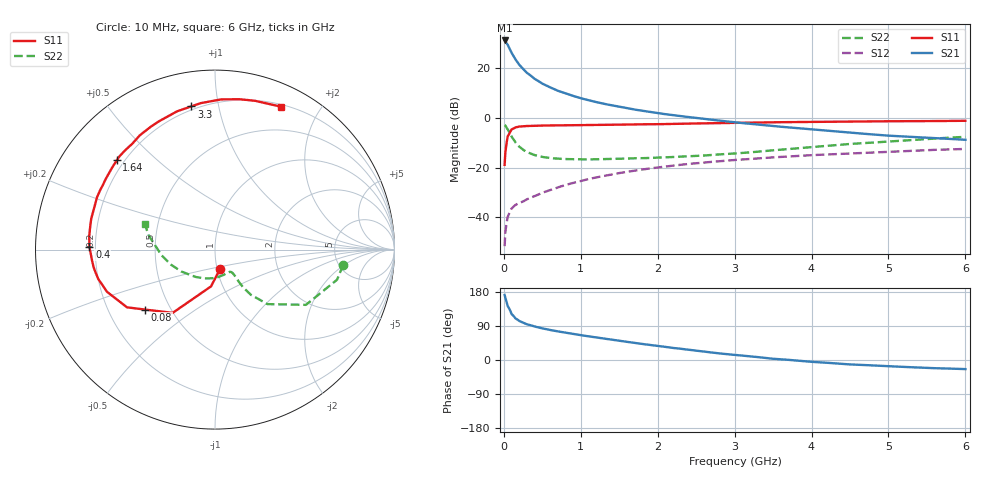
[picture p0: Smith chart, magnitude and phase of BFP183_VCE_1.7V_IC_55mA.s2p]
! Infineon Technologies  Discrete & RF Semiconductors
! BFP183
! VCE = 1.7 V,  IC =  55 mA
! Common Emitter S-Parameters:  Jan 2016
# GHz  S  MA  R  50
!  f  S11  S21  S12  S22
! GHz  MAG  ANG  MAG  ANG  MAG  ANG  MAG  ANG
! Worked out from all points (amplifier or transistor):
!   210 points, 10 MHz to 6 GHz, reference 50 ohm
!   highest |S21| = 31.3 dB at 10 MHz (marker M1)
!   |S21| within 3 dB of that: start of sweep to 70.08 MHz
!   unconditionally stable (mu >= 1): start of sweep to 36.75 MHz; 184.3 MHz to end of sweep
!   at 185 MHz: K = 1.00, MAG = 28.0 dB, |S12| = -34.5 dB
!   at 1.52 GHz: K = 1.73, MAG = 8.3 dB, |S12| = -22.1 dB
!   at 6 GHz: K = 1.35, MAG = -1.7 dB, |S12| = -12.5 dB
!   S11 on the Smith chart (normalised r, x): 10 MHz: 1.03, -0.23; 80 MHz: 0.36, -0.33; 400 MHz: 0.18, +0.01; 1.64 GHz: 0.17, +0.38; 3.3 GHz: 0.18, +0.83; 6 GHz: 0.22, +1.54
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0.01  0.1135 -76.2  36.56 171.6  0.0026 65.5  0.7195 -6.8
0.02  0.2062 -96.2  35.64 163.4  0.005 63.5  0.7002 -13.9
0.05  0.4243 -123.8  29.99 142.1  0.0101 61.0  0.5928 -31.3
0.08  0.5123 -139.3  24.01 131.6  0.0129 51.0  0.486 -38.9
0.1  0.5862 -146.7  20.69 121.4  0.0149 46.5  0.4216 -46.1
0.15  0.6462 -158.7  15.2 110.0  0.0176 45.1  0.3226 -51.5
0.175  0.6574 -162.4  13.49 106.9  0.0185 45.8  0.2934 -52.3
0.2  0.6712 -166.0  11.84 103.0  0.0194 46.5  0.2642 -53.3
0.26  0.6838 -172.1  9.342 97.3  0.0211 48.8  0.2241 -53.5
0.3  0.6881 -175.2  8.133 94.2  0.0229 50.0  0.205 -53.1
0.4  0.6997 178.8  6.16 88.2  0.0266 54.0  0.1784 -52.8
0.5  0.7047 174.0  4.927 83.4  0.0309 55.9  0.1635 -53.1
0.7  0.7108 166.1  3.547 75.5  0.0398 59.7  0.151 -55.0
1.02  0.7192 155.5  2.455 64.9  0.0545 61.0  0.1459 -62.1
1.3  0.7249 147.2  1.931 56.5  0.0677 59.9  0.1483 -69.9
1.64  0.7393 137.7  1.539 46.8  0.084 57.7  0.1526 -80.7
2.02  0.7494 127.6  1.238 36.6  0.1012 54.3  0.1595 -93.9
3.1  0.8012 103.3  0.79 11.6  0.1456 42.7  0.1971 -134.0
3.3  0.8087 99.4  0.737 7.7  0.1529 40.5  0.2088 -140.8
4.1  0.8387 86.3  0.57 -6.0  0.1807 32.0  0.2664 -164.0
5.1  0.8592 73.9  0.432 -17.3  0.2107 22.7  0.3433 174.0
6  0.8774 65.1  0.363 -24.0  0.2374 12.9  0.417 159.9
